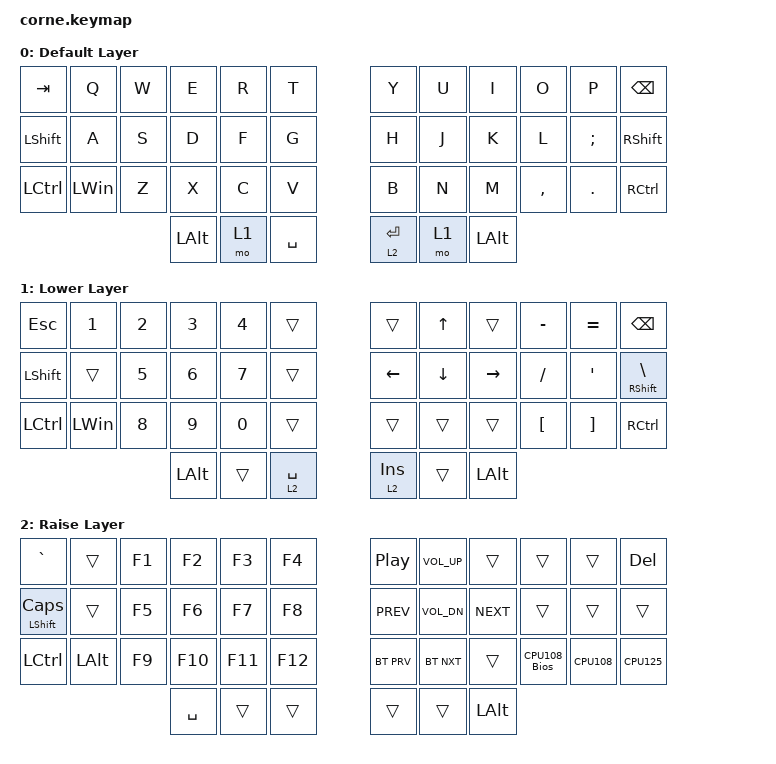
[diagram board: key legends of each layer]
/*
 * Copyright (c) 2020 The ZMK Contributors
 *
 * SPDX-License-Identifier: MIT
 */

#include <behaviors.dtsi>
#include <dt-bindings/zmk/bt.h>
#include <dt-bindings/zmk/keys.h>

/ {
    macros {
        CPU125: CPU125 {
            compatible = "zmk,behavior-macro";
            #binding-cells = <0>;
            bindings = <&kp LS(C) &kp I &kp G &kp A &kp R &kp E &kp T &kp T &kp E &kp DOT &kp N7 &kp N6 &kp N5 &kp RET>;
            label = "CPU125";
        };

        CPU108_Bios: CPU125_Bios {
            compatible = "zmk,behavior-macro";
            #binding-cells = <0>;
            bindings = <&kp B &kp E &kp R &kp O &kp X &kp MINUS &kp F &kp O &kp O &kp MINUS &kp N9 &kp N0 &kp N1 &kp N7 &kp ENTER>;
            label = "CPU125_BIOS";
        };

        CPU108: CPU108 {
            compatible = "zmk,behavior-macro";
            #binding-cells = <0>;
            bindings = <&kp LS(K) &kp I &kp T &kp S &kp U &kp R &kp A &kp G &kp I &kp DOT &kp N4 &kp N5 &kp N6 &kp ENTER>;
            label = "CPU108";
        };
    };

    keymap {
        compatible = "zmk,keymap";

        default_layer {
            display-name = "Default Layer";

            // -----------------------------------------------------------------------------------------
            // |  TAB |  Q  |  W  |  E  |  R  |  T  |   |  Y  |  U   |  I  |  O  |  P  | BSPC |
            // | CTRL |  A  |  S  |  D  |  F  |  G  |   |  H  |  J   |  K  |  L  |  ;  |  '   |
            // | SHFT |  Z  |  X  |  C  |  V  |  B  |   |  N  |  M   |  ,  |  .  |  /  | ESC  |
            //                    | GUI | LWR | SPC |   | ENT | RSE  | ALT |

            bindings = <
&kp TAB           &kp Q         &kp W  &kp E         &kp R  &kp T        &kp Y        &kp U  &kp I         &kp O      &kp P       &kp BSPC
&kp LEFT_SHIFT    &kp A         &kp S  &kp D         &kp F  &kp G        &kp H        &kp J  &kp K         &kp L      &kp SEMI    &kp RIGHT_SHIFT
&kp LEFT_CONTROL  &kp LEFT_WIN  &kp Z  &kp X         &kp C  &kp V        &kp B        &kp N  &kp M         &kp COMMA  &kp PERIOD  &kp RIGHT_CONTROL
                                       &kp LEFT_ALT  &mo 1  &kp SPACE    &lt 2 ENTER  &mo 1  &kp LEFT_ALT
            >;
        };

        lower_layer {
            display-name = "Lower Layer";

            // -----------------------------------------------------------------------------------------
            // |  TAB |  1  |  2  |  3  |  4  |  5  |   |  6  |  7  |  8  |  9  |  0  | BSPC |
            // | BTCLR| BT1 | BT2 | BT3 | BT4 | BT5 |   | LFT | DWN |  UP | RGT |     |      |
            // | SHFT |     |     |     |     |     |   |     |     |     |     |     |      |
            //                    | GUI |     | SPC |   | ENT |     | ALT |

            bindings = <
&kp ESCAPE        &kp N1        &kp N2  &kp N3        &kp N4  &trans         &trans        &kp UP    &trans        &kp MINUS         &kp EQUAL          &kp BSPC
&kp LEFT_SHIFT    &trans        &kp N5  &kp NUMBER_6  &kp N7  &trans         &kp LEFT      &kp DOWN  &kp RIGHT     &kp SLASH         &kp SINGLE_QUOTE   &mt RIGHT_SHIFT BACKSLASH
&kp LEFT_CONTROL  &kp LEFT_WIN  &kp N8  &kp N9        &kp N0  &trans         &trans        &trans    &trans        &kp LEFT_BRACKET  &kp RIGHT_BRACKET  &kp RIGHT_CONTROL
                                        &kp LEFT_ALT  &trans  &lt 2 SPACE    &lt 2 INSERT  &trans    &kp LEFT_ALT
            >;
        };

        raise_layer {
            display-name = "Raise Layer";

            // -----------------------------------------------------------------------------------------
            // |  TAB |  !  |  @  |  #  |  $  |  %  |   |  ^  |  &  |  *  |  (  |  )  | BSPC |
            // | CTRL |     |     |     |     |     |   |  -  |  =  |  [  |  ]  |  \  |  `   |
            // | SHFT |     |     |     |     |     |   |  _  |  +  |  {  |  }  | "|" |  ~   |
            //                    | GUI |     | SPC |   | ENT |     | ALT |

            bindings = <
&kp GRAVE            &trans        &kp F1  &kp F2     &kp F3   &kp F4     &kp C_PLAY_PAUSE  &kp C_VOL_UP  &trans        &trans        &trans   &kp DELETE
&mt LEFT_SHIFT CAPS  &trans        &kp F5  &kp F6     &kp F7   &kp F8     &kp C_PREV        &kp C_VOL_DN  &kp C_NEXT    &trans        &trans   &trans
&kp LEFT_CONTROL     &kp LEFT_ALT  &kp F9  &kp F10    &kp F11  &kp F12    &bt BT_PRV        &bt BT_NXT    &trans        &CPU108_Bios  &CPU108  &CPU125
                                           &kp SPACE  &trans   &trans     &trans            &trans        &kp LEFT_ALT
            >;
        };
    };
};
